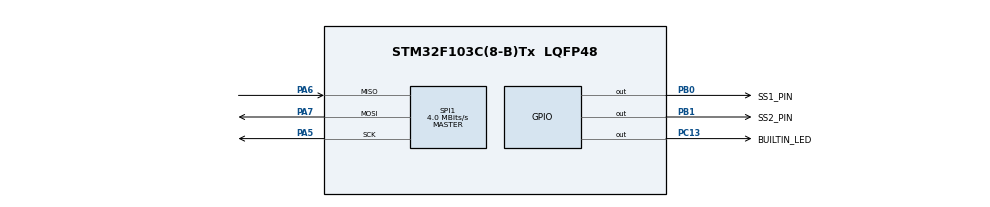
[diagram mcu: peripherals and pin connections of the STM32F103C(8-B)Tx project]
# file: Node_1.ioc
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FREERTOS.Tasks01=defaultTask,24,128,StartDefaultTask,Default,NULL,Dynamic,NULL,NULL;myReceiveTask,8,128,ReceiveTask01,Default,NULL,Dynamic,NULL,NULL;mySendTask,8,128,SendTask01,Default,NULL,Dynamic,NULL,NULL;mySendTask02,8,128,SendTask02,Default,NULL,Dynamic,NULL,NULL
FREERTOS.configUSE_NEWLIB_REENTRANT=1
Mcu.Family=STM32F1
Mcu.Name=STM32F103C(8-B)Tx
Mcu.Package=LQFP48
NVIC.PriorityGroup=NVIC_PRIORITYGROUP_4
PA13.Mode=Serial_Wire
PA13.Signal=SYS_JTMS-SWDIO
PA14.Mode=Serial_Wire
PA14.Signal=SYS_JTCK-SWCLK
PA5.Mode=Full_Duplex_Master
PA5.Signal=SPI1_SCK
PA6.Mode=Full_Duplex_Master
PA6.Signal=SPI1_MISO
PA7.Mode=Full_Duplex_Master
PA7.Signal=SPI1_MOSI
PB0.GPIO_Label=SS1_PIN
PB0.Signal=GPIO_Output
PB1.GPIO_Label=SS2_PIN
PB1.Signal=GPIO_Output
PC13-TAMPER-RTC.GPIO_Label=BUILTIN_LED
PC13-TAMPER-RTC.Signal=GPIO_Output
PD0-OSC_IN.Mode=HSE-External-Oscillator
PD0-OSC_IN.Signal=RCC_OSC_IN
PD1-OSC_OUT.Mode=HSE-External-Oscillator
PD1-OSC_OUT.Signal=RCC_OSC_OUT
ProjectManager.HeapSize=0x200
ProjectManager.StackSize=0x400
ProjectManager.TargetToolchain=STM32CubeIDE
RCC.APB1Freq_Value=8000000
RCC.APB2Freq_Value=8000000
RCC.PLLSourceVirtual=RCC_PLLSOURCE_HSE
RCC.SYSCLKSource=RCC_SYSCLKSOURCE_HSE
RCC.USBFreq_Value=16000000
SPI1.CLKPolarity=SPI_POLARITY_LOW
SPI1.CalculateBaudRate=4.0 MBits/s
SPI1.Direction=SPI_DIRECTION_2LINES
SPI1.FirstBit=SPI_FIRSTBIT_MSB
SPI1.Mode=SPI_MODE_MASTER
SPI1.VirtualType=VM_MASTER
VP_FREERTOS_VS_CMSIS_V2.Mode=CMSIS_V2
board=custom

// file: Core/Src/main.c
/* USER CODE BEGIN Header */
/**
  ******************************************************************************
  * @file           : main.c
  * @brief          : Main program body
  ******************************************************************************
  * @attention
  *
  * Copyright (c) 2023 STMicroelectronics.
  * All rights reserved.
  *
  * This software is licensed under terms that can be found in the LICENSE file
  * in the root directory of this software component.
  * If no LICENSE file comes with this software, it is provided AS-IS.
  *
  ******************************************************************************
  */
/* USER CODE END Header */
#include "main.h"
#include "cmsis_os.h"
#include "spi.h"
#include "gpio.h"

void SystemClock_Config(void);
void MX_FREERTOS_Init(void);

int main(void)
{

  /* MCU Configuration--------------------------------------------------------*/

  /* Reset of all peripherals, Initializes the Flash interface and the Systick. */
  HAL_Init();

  /* Configure the system clock */
  SystemClock_Config();

  /* Initialize all configured peripherals */
  MX_GPIO_Init();
  MX_SPI1_Init();

  /* Init scheduler */
  osKernelInitialize();  /* Call init function for freertos objects (in freertos.c) */
  MX_FREERTOS_Init();

  /* Start scheduler */
  osKernelStart();

  /* We should never get here as control is now taken by the scheduler */
  /* Infinite loop */
  /* USER CODE BEGIN WHILE */
  while (1)
  {
	  //HAL_Delay(1000);

    /* USER CODE END WHILE */

  }
}

void SystemClock_Config(void)
{
  RCC_OscInitTypeDef RCC_OscInitStruct = {0};
  RCC_ClkInitTypeDef RCC_ClkInitStruct = {0};

  /** Initializes the RCC Oscillators according to the specified parameters
  * in the RCC_OscInitTypeDef structure.
  */
  RCC_OscInitStruct.OscillatorType = RCC_OSCILLATORTYPE_HSE;
  RCC_OscInitStruct.HSEState = RCC_HSE_ON;
  RCC_OscInitStruct.PLL.PLLState = RCC_PLL_NONE;
  if (HAL_RCC_OscConfig(&RCC_OscInitStruct) != HAL_OK)
  {
    Error_Handler();
  }

  /** Initializes the CPU, AHB and APB buses clocks
  */
  RCC_ClkInitStruct.ClockType = RCC_CLOCKTYPE_HCLK|RCC_CLOCKTYPE_SYSCLK
                              |RCC_CLOCKTYPE_PCLK1|RCC_CLOCKTYPE_PCLK2;
  RCC_ClkInitStruct.SYSCLKSource = RCC_SYSCLKSOURCE_HSE;
  RCC_ClkInitStruct.AHBCLKDivider = RCC_SYSCLK_DIV1;
  RCC_ClkInitStruct.APB1CLKDivider = RCC_HCLK_DIV1;
  RCC_ClkInitStruct.APB2CLKDivider = RCC_HCLK_DIV1;

  if (HAL_RCC_ClockConfig(&RCC_ClkInitStruct, FLASH_LATENCY_0) != HAL_OK)
  {
    Error_Handler();
  }
}

void Error_Handler(void)
{
  __disable_irq();
  while (1)
  {
  }
}

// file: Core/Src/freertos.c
/* USER CODE BEGIN Header */
/**
 ******************************************************************************
 * File Name          : freertos.c
 * Description        : Code for freertos applications
 ******************************************************************************
 * @attention
 *
 * Copyright (c) 2023 STMicroelectronics.
 * All rights reserved.
 *
 * This software is licensed under terms that can be found in the LICENSE file
 * in the root directory of this software component.
 * If no LICENSE file comes with this software, it is provided AS-IS.
 *
 ******************************************************************************
 */
/* USER CODE END Header */

#include "FreeRTOS.h"
#include "task.h"
#include "main.h"
#include "cmsis_os.h"

/* USER CODE BEGIN Includes */
#include <stdio.h>
#include <spi.h>
/* USER CODE END Includes */

/* USER CODE BEGIN Variables */
uint8_t operation01 = 0;
uint8_t operation02 = 0;

extern SPI_Chip_t chip1;
extern SPI_Chip_t chip2;

/* USER CODE END Variables */
/* Definitions for defaultTask */
osThreadId_t defaultTaskHandle;
const osThreadAttr_t defaultTask_attributes = {
  .name = "defaultTask",
  .stack_size = 128 * 4,
  .priority = (osPriority_t) osPriorityNormal,
};
/* Definitions for myReceiveTask */
osThreadId_t myReceiveTaskHandle;
const osThreadAttr_t myReceiveTask_attributes = {
  .name = "myReceiveTask",
  .stack_size = 128 * 4,
  .priority = (osPriority_t) osPriorityLow,
};
/* Definitions for mySendTask */
osThreadId_t mySendTaskHandle;
const osThreadAttr_t mySendTask_attributes = {
  .name = "mySendTask",
  .stack_size = 128 * 4,
  .priority = (osPriority_t) osPriorityLow,
};
/* Definitions for mySendTask02 */
osThreadId_t mySendTask02Handle;
const osThreadAttr_t mySendTask02_attributes = {
  .name = "mySendTask02",
  .stack_size = 128 * 4,
  .priority = (osPriority_t) osPriorityLow,
};

void StartDefaultTask(void *argument);
void ReceiveTask01(void *argument);
void SendTask01(void *argument);
void SendTask02(void *argument);

void MX_FREERTOS_Init(void); /* (MISRA C 2004 rule 8.1) */

void MX_FREERTOS_Init(void) {

  /* Create the thread(s) */
  /* creation of defaultTask */
  defaultTaskHandle = osThreadNew(StartDefaultTask, NULL, &defaultTask_attributes);

  /* creation of myReceiveTask */
  myReceiveTaskHandle = osThreadNew(ReceiveTask01, NULL, &myReceiveTask_attributes);

  /* creation of mySendTask */
  mySendTaskHandle = osThreadNew(SendTask01, NULL, &mySendTask_attributes);

  /* creation of mySendTask02 */
  mySendTask02Handle = osThreadNew(SendTask02, NULL, &mySendTask02_attributes);

}

void StartDefaultTask(void *argument)
{
  /* USER CODE BEGIN StartDefaultTask */
	/* Infinite loop */
	for (;;) {
		osDelay(1000);
	}
  /* USER CODE END StartDefaultTask */
}

void ReceiveTask01(void *argument)
{
  /* USER CODE BEGIN ReceiveTask01 */
	/* Infinite loop */
	for (;;) {
		osDelay(1000);
	}
  /* USER CODE END ReceiveTask01 */
}

void SendTask01(void *argument)
{
  /* USER CODE BEGIN SendTask01 */
	/* Infinite loop */
	for (;;) {
		if (operation01 == 0) {
			HAL_SPI_SendByte('F', &chip1);
			operation01 = 1;
		} else {
			HAL_SPI_SendByte('N', &chip1);
			operation01 = 0;
		}
		osDelay(500);
	}
  /* USER CODE END SendTask01 */
}

void SendTask02(void *argument)
{
  /* USER CODE BEGIN SendTask02 */
	/* Infinite loop */
	for (;;) {
		if (operation02 == 0) {
			HAL_SPI_SendByte('F', &chip2);
			operation02 = 1;
		} else {
			HAL_SPI_SendByte('N', &chip2);
			operation02 = 0;
		}
		HAL_GPIO_TogglePin(BUILTIN_LED_GPIO_Port, BUILTIN_LED_Pin);
		osDelay(500);

	}
  /* USER CODE END SendTask02 */
}
